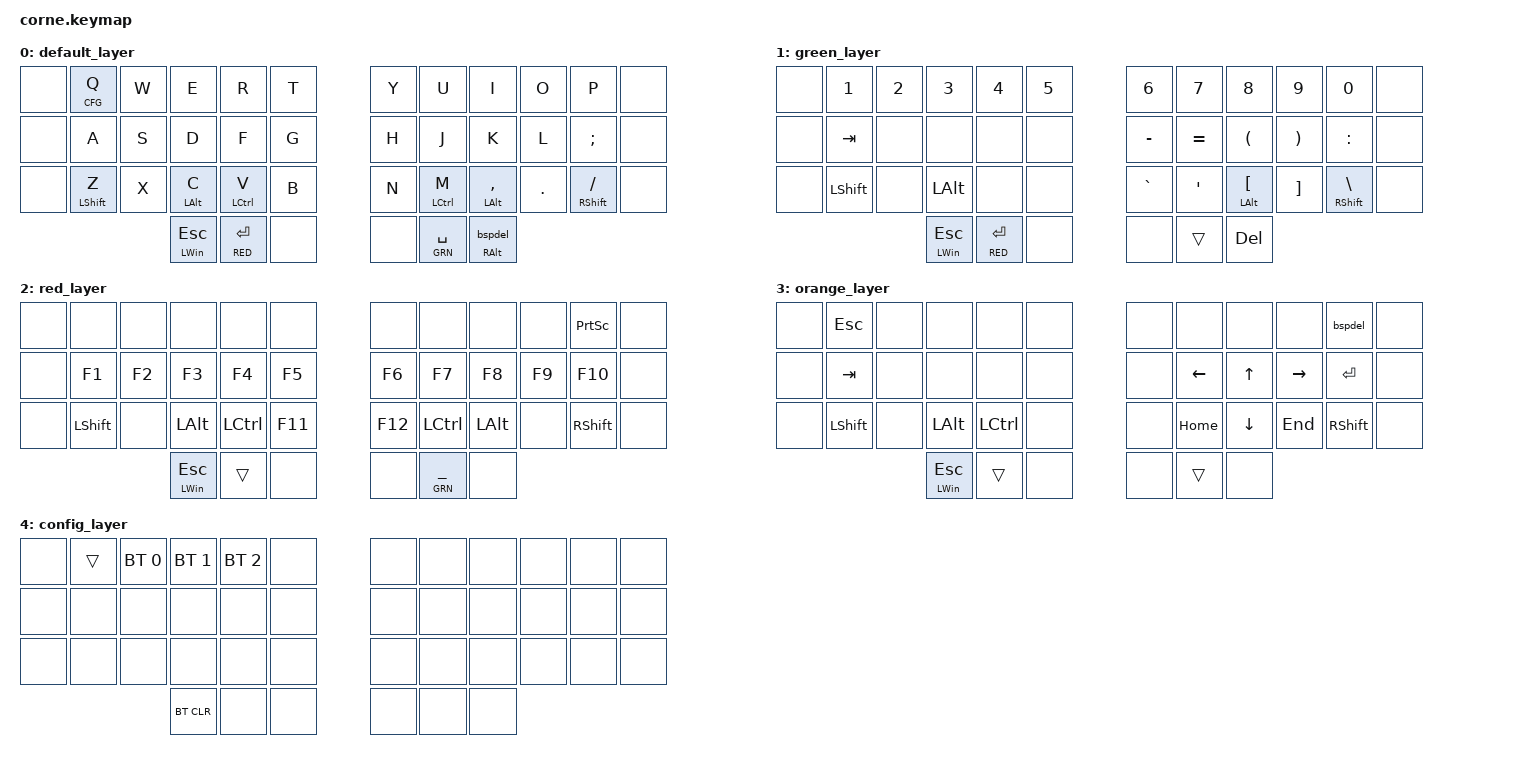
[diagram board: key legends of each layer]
/*
 * Copyright (c) 2020 The ZMK Contributors
 *
 * SPDX-License-Identifier: MIT
 */

#include <behaviors.dtsi>
#include <dt-bindings/zmk/keys.h>
#include <dt-bindings/zmk/bt.h>

#define DEF 0
#define GRN 1
#define RED 2
#define ORG 3
#define CFG 4 

/ {
    conditional_layers {
        compatible = "zmk,conditional-layers";
        tri_layer {
            if-layers = <GRN RED>;
            then-layer = <ORG>;
        };
    };
};

/ {
    macros {
        ZMK_MACRO(end_ent,
            wait-ms = <30>;
            tap-ms = <40>;
            bindings = <&kp END &kp ENTER>;
        )
    };
};

/ {
    behaviors {
        bspdel: backspace_delete {
            compatible = "zmk,behavior-mod-morph";
            label = "BACKSPACE_DELETE";
            #binding-cells = <0>;
            bindings = <&kp BACKSPACE>, <&kp DELETE>;
            mods = <(MOD_LSFT|MOD_RSFT)>;
            //keep-mods = <(MOD_RSFT)>;
        };
        
        bdm: backspace_delete_mod {
            compatible = "zmk,behavior-hold-tap";
            label = "BACKSPACE_DELETE_ALT";
            #binding-cells = <2>;
            flavor = "tap-preferred";
            tapping-term-ms = <200>;
            quick-tap-ms = <125>;
            global-quick-tap;
            bindings = <&kp>, <&bspdel>;
        };
    };
};

&mt {
    flavor = "tap-preferred";
    tapping-term-ms = <200>;
    quick-tap-ms = <125>;
    global-quick-tap;
};

&lt {
    flavor = "tap-preferred";
    tapping-term-ms = <200>;
    quick-tap-ms = <125>;
    global-quick-tap;
};

&caps_word {
    continue-list = <UNDERSCORE N1 N2 N3 N4 N5 N6 N7 N8 N9 N0 BSPC DEL>;
};

// #include "combos.dtsi"

#define ________ &trans
#define XXXXXXXX &none

// Modifiers
#define Z_SFT &mt LSHFT Z
#define X_WIN &mt LWIN X
#define C_ALT &mt LALT C
#define V_CTL &mt LCTL V

#define M_CTL &mt LCTL M
#define COM_ALT &mt LALT COMMA
#define DOT_WIN &mt LWIN DOT
#define FSL_SFT &mt RSHFT FSLH

#define LBKT_ALT &mt LALT LBKT
#define BSL_SFT &mt RSHFT BSLH

#define ESC_WIN &mt LWIN ESC
//#define BSP_ALT &mt RALT BSPC
#define BSP_ALT &bdm RALT 0

// Layers
#define Q_CFG &lt CFG Q
#define ESC_RED &lt RED ESC
#define ENT_RED &lt RED ENTER
#define SPC_GRN &lt GRN SPACE
#define UND_GRN &lt GRN UNDER

// Bluetooth
#define BT_1 &bt BT_SEL 0
#define BT_2 &bt BT_SEL 1
#define BT_3 &bt BT_SEL 2

/ {
//  #           #           #           #           #           #           #           #           #           #           #           #           #           #
    keymap {
        compatible = "zmk,keymap";
        default_layer {
            bindings = <
    XXXXXXXX    Q_CFG       &kp W       &kp E       &kp R       &kp T                               &kp Y       &kp U       &kp I       &kp O       &kp P       XXXXXXXX
    XXXXXXXX    &kp A       &kp S       &kp D       &kp F       &kp G                               &kp H       &kp J       &kp K       &kp L       &kp SEMI    XXXXXXXX
    XXXXXXXX    Z_SFT       &kp X       C_ALT       V_CTL       &kp B                               &kp N       M_CTL       COM_ALT     &kp DOT     FSL_SFT     XXXXXXXX
                                                    ESC_WIN     ENT_RED     XXXXXXXX    XXXXXXXX    SPC_GRN     BSP_ALT
            >;
        };

        green_layer {
            bindings = <
    XXXXXXXX    &kp N1      &kp N2      &kp N3      &kp N4      &kp N5                              &kp N6      &kp N7      &kp N8      &kp N9      &kp N0      XXXXXXXX
    XXXXXXXX    &kp TAB     XXXXXXXX    XXXXXXXX    XXXXXXXX    XXXXXXXX                            &kp MINUS   &kp EQUAL   &kp LPAR    &kp RPAR    &kp COLON   XXXXXXXX
    XXXXXXXX    &kp LSHFT   XXXXXXXX    &kp LALT    XXXXXXXX    XXXXXXXX                            &kp GRAVE   &kp SQT     LBKT_ALT    &kp RBKT    BSL_SFT     XXXXXXXX
                                                    ESC_WIN     ENT_RED    XXXXXXXX    XXXXXXXX    ________    &kp DEL
            >;
        };

        red_layer {
            bindings = <
    XXXXXXXX    XXXXXXXX    XXXXXXXX    XXXXXXXX    XXXXXXXX    XXXXXXXX                            XXXXXXXX    XXXXXXXX    XXXXXXXX    XXXXXXXX    &kp PSCRN   XXXXXXXX
    XXXXXXXX    &kp F1      &kp F2      &kp F3      &kp F4      &kp F5                              &kp F6      &kp F7      &kp F8      &kp F9      &kp F10     XXXXXXXX
    XXXXXXXX    &kp LSHFT   XXXXXXXX    &kp LALT    &kp LCTL    &kp F11                             &kp F12     &kp LCTRL   &kp LALT    XXXXXXXX    &kp RSHFT   XXXXXXXX
                                                    ESC_WIN     ________    XXXXXXXX    XXXXXXXX    UND_GRN     XXXXXXXX
            >;
        };

        orange_layer {
            bindings = <
    XXXXXXXX    &kp ESC     XXXXXXXX    XXXXXXXX    XXXXXXXX    XXXXXXXX                            XXXXXXXX    XXXXXXXX    XXXXXXXX    XXXXXXXX    &bspdel     XXXXXXXX
    XXXXXXXX    &kp TAB     XXXXXXXX    XXXXXXXX    XXXXXXXX    XXXXXXXX                            XXXXXXXX    &kp LEFT    &kp UP      &kp RIGHT   &kp ENTER   XXXXXXXX
    XXXXXXXX    &kp LSHFT   XXXXXXXX    &kp LALT    &kp LCTL    XXXXXXXX                            XXXXXXXX    &kp HOME    &kp DOWN    &kp END     &kp RSHFT   XXXXXXXX
                                                    ESC_WIN     ________    XXXXXXXX    XXXXXXXX    ________    XXXXXXXX
            >;
        };

        config_layer {
            bindings = <
    XXXXXXXX    ________    BT_1        BT_2        BT_3        XXXXXXXX                            XXXXXXXX    XXXXXXXX    XXXXXXXX    XXXXXXXX    XXXXXXXX    XXXXXXXX
    XXXXXXXX    XXXXXXXX    XXXXXXXX    XXXXXXXX    XXXXXXXX    XXXXXXXX                            XXXXXXXX    XXXXXXXX    XXXXXXXX    XXXXXXXX    XXXXXXXX    XXXXXXXX
    XXXXXXXX    XXXXXXXX    XXXXXXXX    XXXXXXXX    XXXXXXXX    XXXXXXXX                            XXXXXXXX    XXXXXXXX    XXXXXXXX    XXXXXXXX    XXXXXXXX    XXXXXXXX
                                                    &bt BT_CLR  XXXXXXXX    XXXXXXXX    XXXXXXXX    XXXXXXXX    XXXXXXXX
            >;
        };
    };
};
